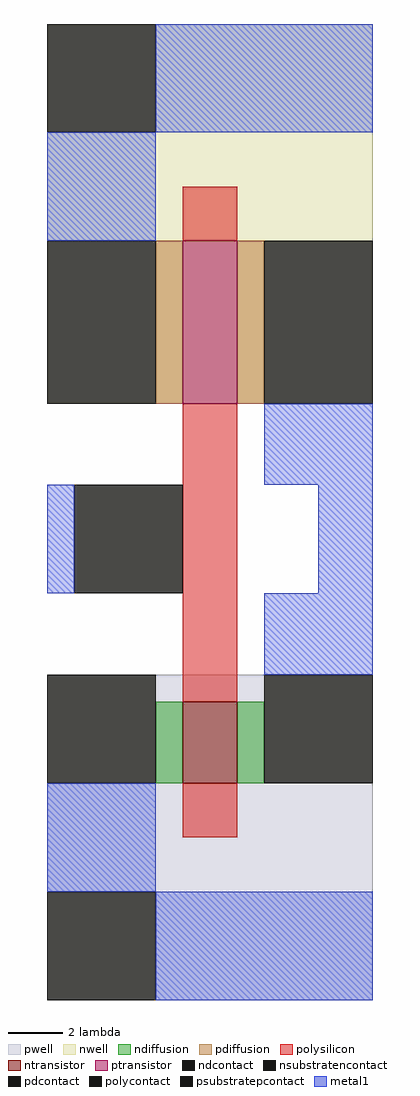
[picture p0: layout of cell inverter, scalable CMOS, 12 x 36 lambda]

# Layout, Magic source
magic
tech scmos
<< pwell >>
rect -6 -8 6 4
<< nwell >>
rect -6 14 6 28
<< polysilicon >>
rect -1 20 1 22
rect -1 3 1 14
rect -1 -2 1 0
<< ndiffusion >>
rect -2 0 -1 3
rect 1 0 2 3
<< pdiffusion >>
rect -2 14 -1 20
rect 1 14 2 20
<< metal1 >>
rect -2 24 6 28
rect -6 20 -2 24
rect 2 11 6 14
rect -6 7 -5 11
rect 4 7 6 11
rect 2 4 6 7
rect -6 -4 -2 0
rect -2 -8 6 -4
<< ntransistor >>
rect -1 0 1 3
<< ptransistor >>
rect -1 14 1 20
<< polycontact >>
rect -5 7 -1 11
<< ndcontact >>
rect -6 0 -2 4
rect 2 0 6 4
<< pdcontact >>
rect -6 14 -2 20
rect 2 14 6 20
<< psubstratepcontact >>
rect -6 -8 -2 -4
<< nsubstratencontact >>
rect -6 24 -2 28
<< end >>
